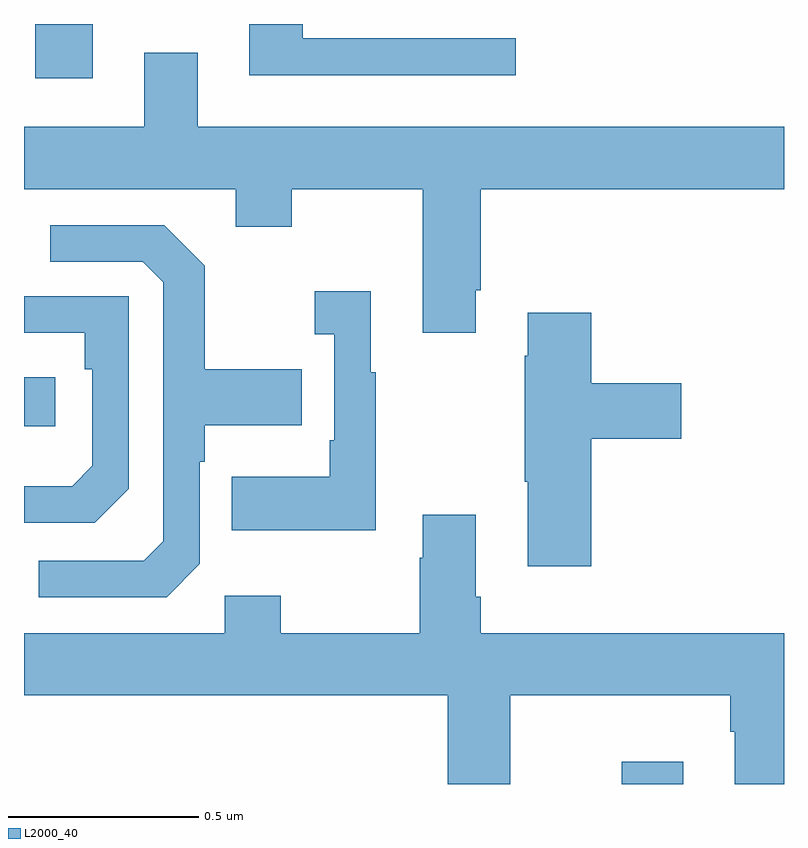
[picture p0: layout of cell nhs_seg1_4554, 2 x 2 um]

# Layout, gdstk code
import gdstk
lib = gdstk.Library(unit=1e-6, precision=1e-09)
def R(c, l, rs):  # rectangles x0, y0, x1, y1
    for r in rs: c.add(gdstk.rectangle(r[:2], r[2:], *l))
def P(c, l, *ps):  # polygons
    for p in ps: c.add(gdstk.Polygon(p, *l))
L2000_40 = (2000, 40)

nhs_seg1_4554 = lib.new_cell('nhs_seg1_4554')
R(nhs_seg1_4554, L2000_40, [(169.573,518.199,169.735,518.257), (168,519.14,168.082,519.27), (168.029,520.056,168.181,520.199)])
P(nhs_seg1_4554, L2000_40, [(169.294,520.161),(168.733,520.161),(168.733,520.199),(168.593,520.199),(168.593,520.064),(169.294,520.064)],
  [(169.189,519.499),(169.202,519.499),(169.202,519.764),(170,519.764),(170,519.928),(168.457,519.928),(168.457,520.123),(168.317,520.123),(168.317,519.928),(168,519.928),(168,519.764),(168.557,519.764),(168.557,519.665),(168.705,519.665),(168.705,519.764),(169.049,519.764),(169.049,519.387),(169.189,519.387)],
  [(168.462,518.778),(168.462,519.047),(168.475,519.047),(168.475,519.143),(168.731,519.143),(168.731,519.291),(168.475,519.291),(168.475,519.563),(168.369,519.669),(168.069,519.669),(168.069,519.573),(168.312,519.573),(168.366,519.519),(168.366,518.838),(168.315,518.787),(168.039,518.787),(168.039,518.691),(168.375,518.691)],
  [(168.925,519.283),(168.913,519.283),(168.913,519.496),(168.765,519.496),(168.765,519.383),(168.816,519.383),(168.816,519.103),(168.804,519.103),(168.804,519.007),(168.547,519.007),(168.547,518.867),(168.925,518.867)],
  [(168.276,518.976),(168.276,519.483),(168,519.483),(168,519.387),(168.16,519.387),(168.16,519.29),(168.18,519.29),(168.18,519.036),(168.127,518.983),(168,518.983),(168,518.886),(168.186,518.886)],
  [(169.493,519.107),(169.729,519.107),(169.729,519.254),(169.493,519.254),(169.493,519.439),(169.325,519.439),(169.325,519.326),(169.318,519.326),(169.318,518.995),(169.325,518.995),(169.325,518.772),(169.493,518.772)],
  [(169.279,518.432),(169.859,518.432),(169.859,518.336),(169.871,518.336),(169.871,518.199),(170,518.199),(170,518.596),(169.202,518.596),(169.202,518.692),(169.189,518.692),(169.189,518.908),(169.049,518.908),(169.049,518.795),(169.042,518.795),(169.042,518.596),(168.675,518.596),(168.675,518.695),(168.528,518.695),(168.528,518.596),(168,518.596),(168,518.432),(169.115,518.432),(169.115,518.199),(169.279,518.199)])

lib.write_gds('nhs_seg1_4554.gds')
